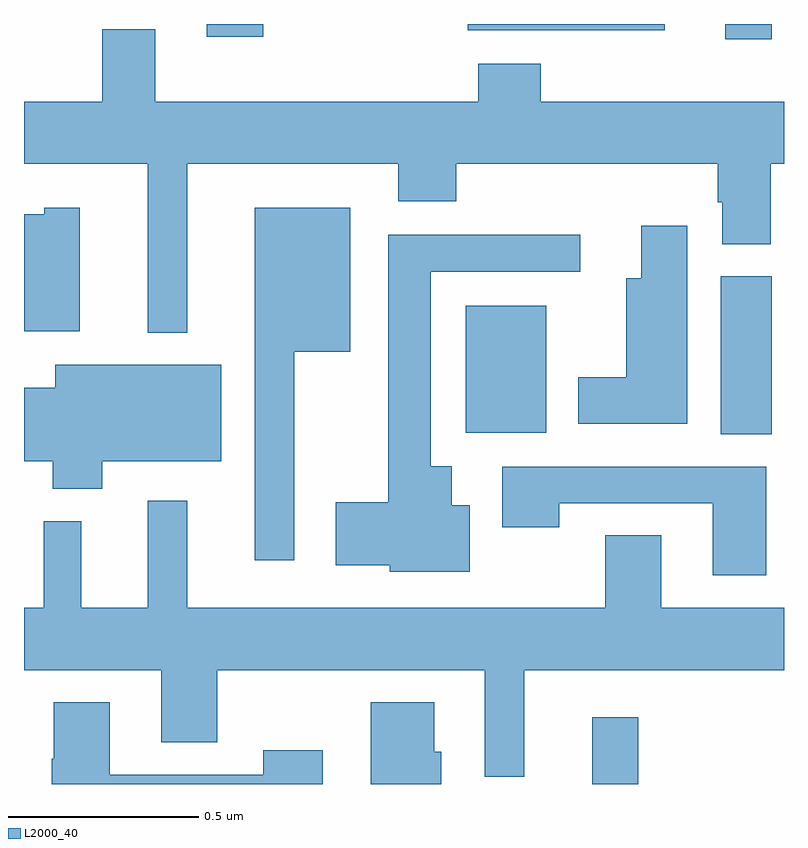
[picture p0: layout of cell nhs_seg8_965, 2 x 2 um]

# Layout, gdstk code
import gdstk
lib = gdstk.Library(unit=1e-6, precision=1e-09)
def R(c, l, rs):  # rectangles x0, y0, x1, y1
    for r in rs: c.add(gdstk.rectangle(r[:2], r[2:], *l))
def P(c, l, *ps):  # polygons
    for p in ps: c.add(gdstk.Polygon(p, *l))
L2000_40 = (2000, 40)

nhs_seg8_965 = lib.new_cell('nhs_seg8_965')
R(nhs_seg8_965, L2000_40, [(125.495,1082.9,125.617,1083.076), (125.834,1083.82,125.968,1084.236), (125.162,1083.824,125.374,1084.159), (125.846,1084.86,125.968,1084.9), (124.481,1084.866,124.629,1084.9), (125.168,1084.883,125.686,1084.9)])
P(nhs_seg8_965, L2000_40, [(124.429,1084.532),(124.985,1084.532),(124.985,1084.433),(125.138,1084.433),(125.138,1084.532),(125.825,1084.532),(125.825,1084.431),(125.837,1084.431),(125.837,1084.321),(125.965,1084.321),(125.965,1084.532),(126,1084.532),(126,1084.696),(125.36,1084.696),(125.36,1084.795),(125.195,1084.795),(125.195,1084.696),(124.345,1084.696),(124.345,1084.886),(124.206,1084.886),(124.206,1084.696),(124,1084.696),(124,1084.532),(124.325,1084.532),(124.325,1084.088),(124.429,1084.088)],
  [(124.711,1084.037),(124.858,1084.037),(124.858,1084.417),(124.607,1084.417),(124.607,1083.489),(124.711,1083.489)],
  [(124.147,1084.417),(124.053,1084.417),(124.053,1084.399),(124,1084.399),(124,1084.091),(124.147,1084.091)],
  [(125.746,1084.369),(125.624,1084.369),(125.624,1084.231),(125.585,1084.231),(125.585,1083.97),(125.459,1083.97),(125.459,1083.848),(125.746,1083.848)],
  [(125.173,1083.634),(125.125,1083.634),(125.125,1083.736),(125.071,1083.736),(125.071,1084.248),(125.464,1084.248),(125.464,1084.346),(124.958,1084.346),(124.958,1083.642),(124.821,1083.642),(124.821,1083.476),(124.962,1083.476),(124.962,1083.458),(125.173,1083.458)],
  [(124.206,1083.749),(124.519,1083.749),(124.519,1084.003),(124.082,1084.003),(124.082,1083.943),(124,1083.943),(124,1083.749),(124.076,1083.749),(124.076,1083.677),(124.206,1083.677)],
  [(125.953,1083.735),(125.258,1083.735),(125.258,1083.576),(125.409,1083.576),(125.409,1083.639),(125.813,1083.639),(125.813,1083.45),(125.953,1083.45)],
  [(125.317,1083.2),(126,1083.2),(126,1083.364),(125.677,1083.364),(125.677,1083.554),(125.53,1083.554),(125.53,1083.364),(124.429,1083.364),(124.429,1083.646),(124.325,1083.646),(124.325,1083.364),(124.15,1083.364),(124.15,1083.592),(124.052,1083.592),(124.052,1083.364),(124,1083.364),(124,1083.2),(124.361,1083.2),(124.361,1083.01),(124.509,1083.01),(124.509,1083.2),(125.213,1083.2),(125.213,1082.919),(125.317,1082.919)],
  [(125.098,1082.985),(125.08,1082.985),(125.08,1083.115),(124.913,1083.115),(124.913,1082.9),(125.098,1082.9)],
  [(124.786,1082.989),(124.63,1082.989),(124.63,1082.925),(124.225,1082.925),(124.225,1083.115),(124.078,1083.115),(124.078,1082.967),(124.073,1082.967),(124.073,1082.9),(124.786,1082.9)])

lib.write_gds('nhs_seg8_965.gds')
